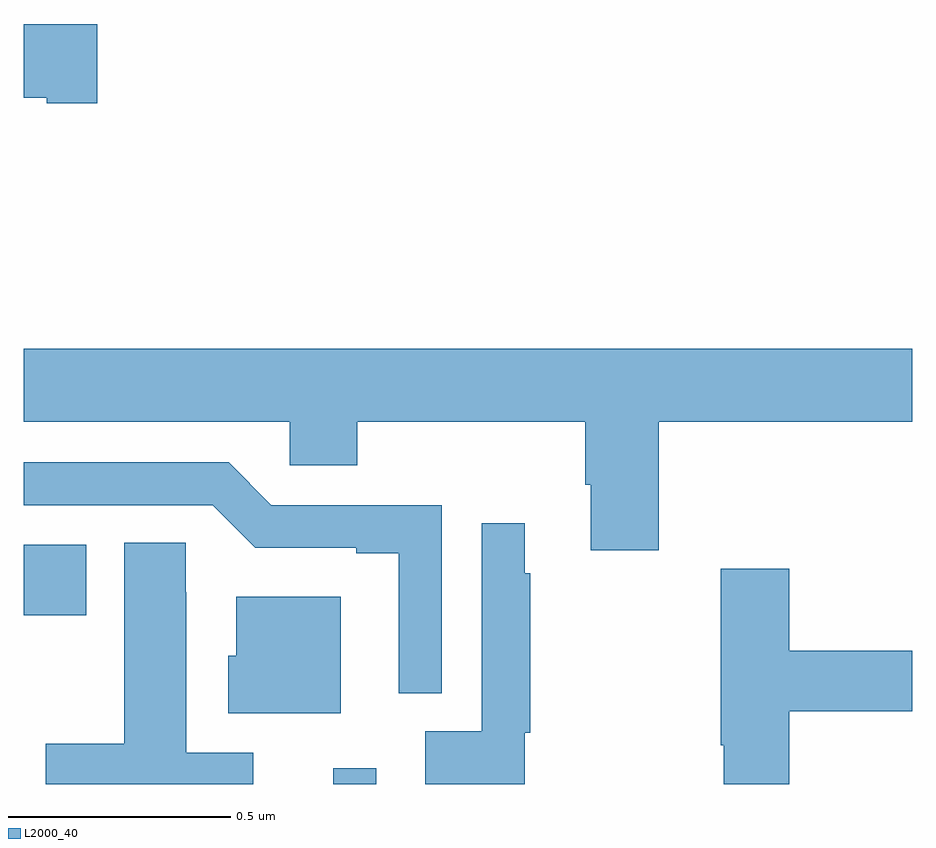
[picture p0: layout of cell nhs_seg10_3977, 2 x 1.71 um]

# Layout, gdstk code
import gdstk
lib = gdstk.Library(unit=1e-6, precision=1e-09)
def R(c, l, rs):  # rectangles x0, y0, x1, y1
    for r in rs: c.add(gdstk.rectangle(r[:2], r[2:], *l))
def P(c, l, *ps):  # polygons
    for p in ps: c.add(gdstk.Polygon(p, *l))
L2000_40 = (2000, 40)

nhs_seg10_3977 = lib.new_cell('nhs_seg10_3977')
R(nhs_seg10_3977, L2000_40, [(160.697,1299.5,160.794,1299.535), (160,1299.88,160.141,1300.039)])
P(nhs_seg10_3977, L2000_40, [(160.165,1301.211),(160,1301.211),(160,1301.045),(160.052,1301.045),(160.052,1301.033),(160.165,1301.033)],
  [(161.429,1300.316),(162,1300.316),(162,1300.48),(160,1300.48),(160,1300.316),(160.599,1300.316),(160.599,1300.218),(160.751,1300.218),(160.751,1300.316),(161.264,1300.316),(161.264,1300.174),(161.276,1300.174),(161.276,1300.026),(161.429,1300.026)],
  [(160.941,1300.128),(160.557,1300.128),(160.461,1300.224),(160,1300.224),(160,1300.128),(160.425,1300.128),(160.521,1300.032),(160.748,1300.032),(160.748,1300.02),(160.844,1300.02),(160.844,1299.704),(160.941,1299.704)],
  [(161.128,1299.615),(161.14,1299.615),(161.14,1299.974),(161.128,1299.974),(161.128,1300.087),(161.031,1300.087),(161.031,1299.619),(160.904,1299.619),(160.904,1299.5),(161.128,1299.5)],
  [(160.517,1299.57),(160.366,1299.57),(160.366,1299.932),(160.365,1299.932),(160.365,1300.043),(160.226,1300.043),(160.226,1299.591),(160.049,1299.591),(160.049,1299.5),(160.517,1299.5)],
  [(161.723,1299.664),(162,1299.664),(162,1299.8),(161.723,1299.8),(161.723,1299.985),(161.569,1299.985),(161.569,1299.587),(161.576,1299.587),(161.576,1299.5),(161.723,1299.5)],
  [(160.714,1299.922),(160.478,1299.922),(160.478,1299.789),(160.46,1299.789),(160.46,1299.659),(160.714,1299.659)])

lib.write_gds('nhs_seg10_3977.gds')
